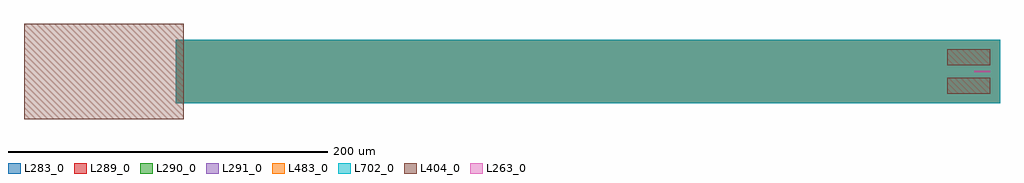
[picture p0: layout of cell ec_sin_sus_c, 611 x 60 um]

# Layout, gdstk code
import gdstk
lib = gdstk.Library(unit=1e-6, precision=1e-09)
def R(c, l, rs):  # rectangles x0, y0, x1, y1
    for r in rs: c.add(gdstk.rectangle(r[:2], r[2:], *l))
L263_0 = (263, 0)
L283_0 = (283, 0)
L289_0 = (289, 0)
L290_0 = (290, 0)
L291_0 = (291, 0)
L404_0 = (404, 0)
L483_0 = (483, 0)
L702_0 = (702, 0)

ec_sin_sus_c = lib.new_cell('ec_sin_sus_c')
R(ec_sin_sus_c, L263_0, [(595,10.717,605,11.717)])
R(ec_sin_sus_c, L283_0, [(95,-8.783,611,31.217)])
R(ec_sin_sus_c, L289_0, [(95,-8.783,611,31.217)])
R(ec_sin_sus_c, L290_0, [(95,-8.783,611,31.217)])
R(ec_sin_sus_c, L291_0, [(95,-8.783,611,31.217)])
R(ec_sin_sus_c, L404_0, [(0,-18.783,100,41.217), (578,-2.783,605,7.217), (578,15.217,605,25.217)])
R(ec_sin_sus_c, L483_0, [(95,-8.783,611,31.217)])
R(ec_sin_sus_c, L702_0, [(95,-8.783,611,31.217)])

lib.write_gds('ec_sin_sus_c.gds')
